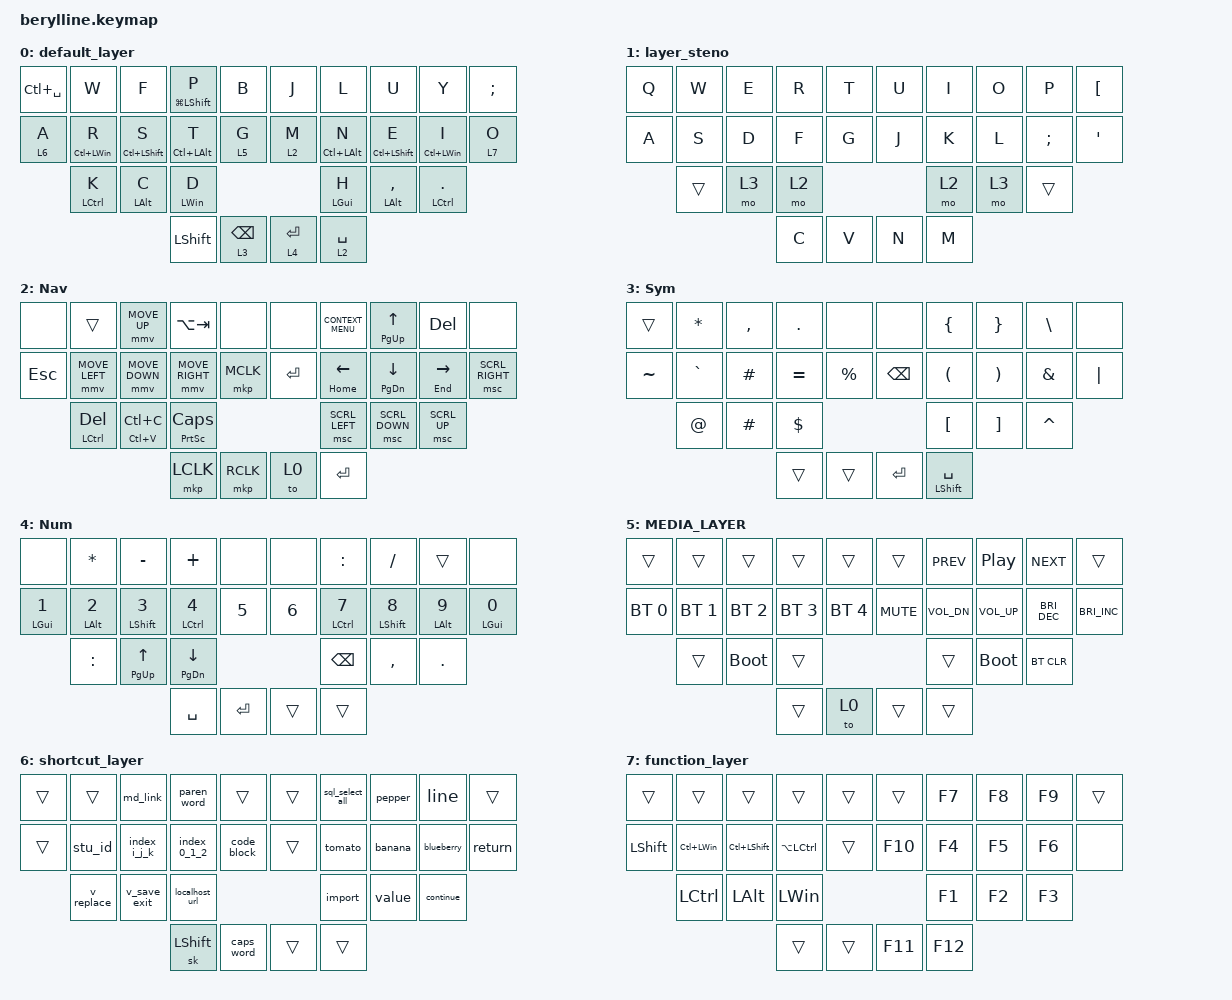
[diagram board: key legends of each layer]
/*
 * Copyright (c) 2020 The ZMK Contributors
 *
 * SPDX-License-Identifier: MIT
 */

#include <dt-bindings/zmk/mouse.h>
#include <behaviors.dtsi>
#include <dt-bindings/zmk/bt.h>
#include <dt-bindings/zmk/keys.h>
#include <dt-bindings/zmk/pointing.h>

// make moving faster

#define ZMK_POINTING_DEFAULT_MOVE_VAL 1500  // default: 600
#define ZMK_POINTING_DEFAULT_SCRL_VAL 20    // default: 10

/* Layers */

#define DEF_L 0
#define NAV_L 1
#define SYM_L 2
#define NUM_L 3
#define MED_L 4

/* Shortcuts */

#define CUT LC(X)
#define COPY LC(C)
#define PASTE LC(V)
#define UNDO LC(Z)
#define SLALL LC(A)

/* Key Position Groups */

#define KEYS_L 0 1 2 3 4 10 11 12 13 14 20 21 22  // left-hand keys
#define KEYS_R 5 6 7 8 9 15 16 17 18 19 23 24 25  // right-hand keys
#define THUMBS 26 27 28 29                        // thumb keys

/* Mod Tap Parameters */

#define TAPPING_TERM 200
#define TD_TAPPING_TERM 325
#define QUICK_TAP_TERM 175

/* Behavior Settings */

&sk {
    release-after-ms = <250>;
    quick-release;
};

&sl { release-after-ms = <250>; };

&mt {
    tapping-term-ms = <TAPPING_TERM>;
    flavor = "tap-preferred";
    quick-tap-ms = <QUICK_TAP_TERM>;
};

/ {
    behaviors {
        f1to3: f1to3 {
            compatible = "zmk,behavior-tap-dance";
            label = "F1TO3";
            #binding-cells = <0>;
            bindings = <&kp F1>, <&kp F2>, <&kp F3>;
        };

        f4to6: f4to6 {
            compatible = "zmk,behavior-tap-dance";
            label = "F4TO6";
            #binding-cells = <0>;
            bindings = <&kp F4>, <&kp F5>, <&kp F6>;
        };

        f7to9: f7to9 {
            compatible = "zmk,behavior-tap-dance";
            label = "F7TO9";
            #binding-cells = <0>;
            bindings = <&kp F7>, <&kp F8>, <&kp F9>;
        };

        shift_or_cap: shift_or_cap {
            compatible = "zmk,behavior-tap-dance";
            label = "SHIFT_OR_CAP";
            #binding-cells = <0>;
            bindings = <&kp LSHIFT>, <&caps_word>;
        };

        index_i_j_k: index_i_j_k {
            compatible = "zmk,behavior-tap-dance";
            label = "INDEX_I_J_K";
            #binding-cells = <0>;
            bindings = <&index_i>, <&index_j>, <&index_k>;
        };

        index_0_1_2: index_0_1_2 {
            compatible = "zmk,behavior-tap-dance";
            label = "INDEX_0_1_2";
            #binding-cells = <0>;
            bindings = <&index0>, <&index1>, <&index_2>;
        };

        swap_quote: swap_quote {
            compatible = "zmk,behavior-mod-morph";
            label = "SWAP_QUOTE";
            bindings = <&kp DOUBLE_QUOTES>, <&kp SINGLE_QUOTE>;

            #binding-cells = <0>;
            mods = <(MOD_LSFT)>;
        };

        ctrl_m_to_enter: ctrl_m_to_enter {
            compatible = "zmk,behavior-mod-morph";
            label = "CTRL_M_TO_ENTER";
            bindings = <&kp M>, <&kp ENTER>;

            #binding-cells = <0>;
            mods = <(MOD_LCTL)>;
        };
    };

    conditional_layers { compatible = "zmk,conditional-layers"; };

    combos {
        compatible = "zmk,combos";

        /*                KEY POSITIONS

             0   1   2   3   4      5   6   7   8   9
            10  11  12  13  14     15  16  17  18  19
                20  21  22             23  24  25
                        26  27     28  29              */
        /* Letters */

        v {
            key-positions = <2 3>;
            bindings = <&kp V>;
            layers = <0>;
        };

        q {
            key-positions = <12 11>;
            bindings = <&kp Q>;
            layers = <0>;
        };

        z {
            key-positions = <2 13>;
            bindings = <&kp Z>;
            layers = <0>;
        };

        /* Brackets */
        /* Convenience */

        esc {
            bindings = <&kp ESC>;
            key-positions = <11 13>;
            layers = <0 2>;
            timeout-ms = <25>;
        };

        tab {
            bindings = <&kp TAB>;
            key-positions = <1 2>;
            layers = <0>;
        };

        x {
            bindings = <&kp X>;
            key-positions = <12 22>;
            layers = <0>;
        };

        zero {
            bindings = <&kp N0>;
            key-positions = <20 21>;
            layers = <0 3>;
            timeout-ms = <30>;
        };

        one {
            bindings = <&kp N1>;
            key-positions = <22 21>;
            layers = <0 3>;
            timeout-ms = <20>;
        };

        slash {
            bindings = <&kp SLASH>;
            key-positions = <24 25>;
            layers = <0>;
        };

        minus {
            bindings = <&kp MINUS>;
            key-positions = <23 24>;
            layers = <0>;
        };

        quote {
            bindings = <&kp SINGLE_QUOTE>;
            key-positions = <17 18>;
            layers = <0>;
            timeout-ms = <25>;
        };

        to_nav {
            bindings = <&to 2>;
            key-positions = <24 25 23>;
            layers = <0>;
        };

        var_text {
            bindings = <&var_text>;
            key-positions = <8 18>;
            layers = <0>;
        };

        two {
            bindings = <&kp NUMBER_2>;
            key-positions = <20 22>;
            layers = <0 3>;
            timeout-ms = <30>;
        };

        equal {
            bindings = <&kp EQUAL>;
            key-positions = <16 17>;
            layers = <0>;
            timeout-ms = <25>;
        };

        tmux_prefix {
            bindings = <&kp LC(SPACE)>;
            key-positions = <3 13>;
            layers = <0>;
        };

        language_switch {
            bindings = <&language_switch>;
            key-positions = <7 8>;
            timeout-ms = <30>;
            layers = <0>;
        };

        home_dir {
            bindings = <&home_dir>;
            key-positions = <1 3>;
            layers = <0>;
        };

        astrk {
            bindings = <&kp ASTRK>;
            key-positions = <25 23>;
            layers = <0>;
        };

        less {
            bindings = <&less>;
            key-positions = <1 2>;
            layers = <3>;
        };

        gt {
            bindings = <&gt>;
            key-positions = <2 3>;
            layers = <3>;
        };

        equal_arrow {
            bindings = <&equal_arrow>;
            key-positions = <11 12>;
            layers = <3>;
        };

        last_dir {
            bindings = <&last_dir>;
            key-positions = <1 11>;
            layers = <0>;
        };

        line_start {
            bindings = <&kp CARET>;
            key-positions = <16 23>;
            layers = <0>;
        };

        line_end {
            bindings = <&kp DOLLAR>;
            key-positions = <17 24>;
            layers = <0>;
        };

        exclamation {
            bindings = <&kp EXCL>;
            key-positions = <18 25>;
            layers = <0>;
        };

        steno_toggle {
            bindings = <&plover_toggle>;
            key-positions = <21 20 22>;
            layers = <0 1>;
        };

        l_pren {
            bindings = <&kp LPAR>;
            key-positions = <16 6>;
            layers = <0>;
        };

        r_paren {
            bindings = <&kp RPAR>;
            key-positions = <7 17>;
            layers = <0>;
        };

        l_bracket {
            bindings = <&kp LEFT_BRACKET>;
            key-positions = <2 12>;
            layers = <0>;
        };

        arrow {
            bindings = <&arrow>;
            key-positions = <6 7>;
            layers = <0>;
        };
    };

    macros {
        const: const {
            compatible = "zmk,behavior-macro";
            #binding-cells = <0>;
            bindings = <&kp C &kp O &kp N &kp S &kp T &kp SPACE>;
            label = "CONST";
        };

        you: of {
            compatible = "zmk,behavior-macro";
            #binding-cells = <0>;
            bindings = <&kp Y &kp O &kp U>;
            label = "OF";
        };

        and: and {
            compatible = "zmk,behavior-macro";
            #binding-cells = <0>;
            bindings = <&kp A &kp N &kp D>;
            label = "AND";
        };

        key: key {
            compatible = "zmk,behavior-macro";
            #binding-cells = <0>;
            bindings = <&kp K &kp E &kp Y>;
            label = "KEY";
        };

        fun: fun {
            compatible = "zmk,behavior-macro";
            #binding-cells = <0>;
            bindings = <&kp F &kp U &kp N &kp C &kp T &kp I &kp O &kp N>;
            label = "FUN";
        };

        return: return {
            compatible = "zmk,behavior-macro";
            #binding-cells = <0>;
            bindings = <&kp R &kp E &kp T &kp U &kp R &kp N &kp SPACE>;
            label = "RETURN";
        };

        value: value {
            compatible = "zmk,behavior-macro";
            #binding-cells = <0>;
            bindings = <&kp V &kp A &kp L &kp U &kp E>;
            label = "VALUE";
        };

        home_dir: home_dir {
            compatible = "zmk,behavior-macro";
            #binding-cells = <0>;
            bindings = <&kp TILDE &kp FSLH>;
            label = "HOME_DIR";
        };

        s_neq: s_neq {
            compatible = "zmk,behavior-macro";
            #binding-cells = <0>;
            bindings = <&kp EXCL &kp EQUAL &kp EQUAL>;
            label = "S_NEQ";
        };

        less: less {
            compatible = "zmk,behavior-macro";
            #binding-cells = <0>;
            bindings = <&kp LT &kp EQUAL>;
            label = "LT";
        };

        gt: gt {
            compatible = "zmk,behavior-macro";
            #binding-cells = <0>;
            bindings = <&kp GT &kp EQUAL>;
            label = "GT";
        };

        equal_arrow: equal_arrow {
            compatible = "zmk,behavior-macro";
            #binding-cells = <0>;
            bindings = <&kp EQUAL &kp GT>;
            label = "EQUAL_ARROW";
        };

        s_eq: s_eq {
            compatible = "zmk,behavior-macro";
            #binding-cells = <0>;
            bindings = <&kp EQUAL &kp EQUAL &kp EQUAL>;
            label = "S_EQ";
        };

        export: export {
            compatible = "zmk,behavior-macro";
            #binding-cells = <0>;
            bindings = <&kp E &kp X &kp P &kp O &kp R &kp T &kp SPACE>;
            label = "EXPORT";
        };

        last_dir: last_dir {
            compatible = "zmk,behavior-macro";
            #binding-cells = <0>;
            bindings = <&kp DOT &kp DOT &kp FSLH>;
            label = "LAST_DIR";
        };

        str: str {
            compatible = "zmk,behavior-macro";
            #binding-cells = <0>;
            bindings = <&swap_quote &swap_quote &kp LEFT>;
            label = "STR";
        };

        true: true {
            compatible = "zmk,behavior-macro";
            #binding-cells = <0>;
            bindings = <&kp T &kp R &kp U &kp E>;
            label = "TRUE";
        };

        false: false {
            compatible = "zmk,behavior-macro";
            #binding-cells = <0>;
            bindings = <&kp F &kp A &kp L &kp S &kp E>;
            label = "FALSE";
        };

        default: default {
            compatible = "zmk,behavior-macro";
            #binding-cells = <0>;
            bindings = <&kp D &kp E &kp F &kp A &kp U &kp L &kp T &kp SPACE>;
            label = "DEFAULT";
        };

        import: import {
            compatible = "zmk,behavior-macro";
            #binding-cells = <0>;
            bindings = <&kp I &kp M &kp P &kp O &kp R &kp T &kp SPACE>;
            label = "IMPORT";
        };

        continue: continue {
            compatible = "zmk,behavior-macro";
            #binding-cells = <0>;
            bindings = <&kp C &kp O &kp N &kp T &kp I &kp N &kp U &kp E>;
            label = "CONTINUE";
        };

        stu_id: stu_id {
            compatible = "zmk,behavior-macro";
            #binding-cells = <0>;
            bindings = <&kp LS(P) &kp N7 &kp N6 &kp N1 &kp N4 &kp N4 &kp N4 &kp N3 &kp N5>;
            label = "STU_ID";
        };

        paren_word: paren_word {
            compatible = "zmk,behavior-macro";
            #binding-cells = <0>;
            bindings = <&kp LPAR &kp RPAR &kp LEFT>;
            label = "PAREN_WORD";
        };

        md_link: md_link {
            compatible = "zmk,behavior-macro";
            #binding-cells = <0>;
            bindings = <&kp LEFT_BRACKET &kp RIGHT_BRACKET &kp LPAR &kp RPAR &kp LEFT &kp LEFT &kp LEFT>;
            label = "MD_LINK";
        };

        index_i: index_i {
            compatible = "zmk,behavior-macro";
            #binding-cells = <0>;
            bindings = <&kp LBKT &kp I &kp RIGHT_BRACKET>;
            label = "INDEX_I";
        };

        index_j: index_j {
            compatible = "zmk,behavior-macro";
            #binding-cells = <0>;
            bindings = <&kp LBKT &kp J &kp RIGHT_BRACKET>;
            label = "INDEX_J";
        };

        index0: index0 {
            compatible = "zmk,behavior-macro";
            #binding-cells = <0>;
            bindings = <&kp LBKT &kp N0 &kp RIGHT_BRACKET>;
            label = "INDEX0";
        };

        index1: index1 {
            compatible = "zmk,behavior-macro";
            #binding-cells = <0>;
            bindings = <&kp LBKT &kp N1 &kp RIGHT_BRACKET>;
            label = "INDEX1";
        };

        length: length {
            compatible = "zmk,behavior-macro";
            #binding-cells = <0>;
            bindings = <&kp L &kp E &kp N &kp G &kp T &kp H>;
            label = "LENGTH";
        };

        index_2: index_2 {
            compatible = "zmk,behavior-macro";
            #binding-cells = <0>;
            bindings = <&kp LBKT &kp N2 &kp RIGHT_BRACKET>;
            label = "INDEX_2";
        };

        index_k: index_k {
            compatible = "zmk,behavior-macro";
            #binding-cells = <0>;
            bindings = <&kp LBKT &kp K &kp RBKT>;
            label = "INDEX_K";
        };

        sym_or: sym_or {
            compatible = "zmk,behavior-macro";
            #binding-cells = <0>;
            bindings = <&kp PIPE &kp PIPE>;
            label = "SYM_OR";
        };

        localhost_url: localhost_url {
            compatible = "zmk,behavior-macro";
            #binding-cells = <0>;
            bindings = <&kp H &kp T &kp T &kp P &kp COLON &kp FSLH &kp FSLH &kp L &kp O &kp C &kp A &kp L &kp H &kp O &kp S &kp T &kp COLON>;
            label = "LOCALHOST_URL";
        };

        v_replace: v_replace {
            compatible = "zmk,behavior-macro";
            #binding-cells = <0>;
            bindings = <&kp ESCAPE &kp COLON &kp PRCNT &kp S &kp FSLH>;
            label = "V_REPLACE";
        };

        var_text: var_text {
            compatible = "zmk,behavior-macro";
            #binding-cells = <0>;
            bindings = <&kp DLLR &kp LBRC &kp RBRC &kp LEFT>;
            label = "VAR_TEXT";
        };

        v_save_exit: v_save_exit {
            compatible = "zmk,behavior-macro";
            #binding-cells = <0>;
            bindings = <&kp ESCAPE &kp COLON &kp W &kp Q &kp RET>;
            label = "V_SAVE_EXIT";
        };

        bracket_word: bracket_word {
            compatible = "zmk,behavior-macro";
            #binding-cells = <0>;
            bindings = <&kp LBKT &kp RIGHT_BRACKET &kp LEFT>;
            label = "BRACKET_WORD";
        };

        code_block: code_block {
            compatible = "zmk,behavior-macro";
            #binding-cells = <0>;
            bindings = <&kp GRAVE &kp GRAVE &kp GRAVE &kp ENTER &kp GRAVE &kp GRAVE &kp GRAVE &kp UP &kp ENTER>;
            label = "CODE_BLOCK";
        };

        sql_select_all: sql_select_all {
            compatible = "zmk,behavior-macro";
            #binding-cells = <0>;
            bindings = <&kp LS(S) &kp LS(E) &kp LS(L) &kp LS(E) &kp LS(C) &kp LS(T) &kp SPACE &kp STAR &kp SPACE &kp LS(F) &kp LS(R) &kp LS(O) &kp LS(M) &kp SPACE>;
            label = "SQL_SELECT_ALL";
        };

        language_switch: language_switch {
            compatible = "zmk,behavior-macro";
            #binding-cells = <0>;
            bindings = <&kp LG(SPACE)>;
            label = "LANGUAGE_SWITCH";
        };

        plover_toggle: plover_toggle {
            wait-ms = <5>;
            tap-ms = <5>;
            compatible = "zmk,behavior-macro";
            label = "PLOVER";
            #binding-cells = <0>;
            bindings =
                <&macro_press>,
                <&kp E &kp R &kp F &kp V &kp O &kp L>,
                <&macro_release>,
                <&kp E &kp R &kp F &kp V &kp O &kp L>,
                <&macro_tap>,
                <&tog 1>;
        };

        tomato: tomato {
            compatible = "zmk,behavior-macro";
            #binding-cells = <0>;
            bindings = <&kp LC(LS(U)) &kp N1 &kp F &kp N3 &kp N4 &kp N5 &kp ENTER>;
            label = "TOMATO";
        };

        banana: banana {
            compatible = "zmk,behavior-macro";
            #binding-cells = <0>;
            bindings = <&kp LC(LS(U)) &kp N1 &kp F &kp N3 &kp N4 &kp C &kp ENTER>;
            label = "BANANA";
        };

        pepper: pepper {
            compatible = "zmk,behavior-macro";
            #binding-cells = <0>;
            bindings = <&kp LC(LS(U)) &kp N1 &kp F &kp A &kp D &kp NUMBER_1 &kp ENTER>;
            label = "PEPPER";
        };

        blueberry: blueberry {
            compatible = "zmk,behavior-macro";
            #binding-cells = <0>;
            bindings = <&kp LC(LS(U)) &kp N1 &kp F &kp A &kp D &kp NUMBER_0 &kp ENTER>;
            label = "BLUEBERRY";
        };

        arrow: arrow {
            compatible = "zmk,behavior-macro";
            #binding-cells = <0>;
            bindings = <&kp MINUS &kp GT>;
            label = "ARROW";
        };

        line: line {
            compatible = "zmk,behavior-macro";
            #binding-cells = <0>;
            bindings = <&kp MINUS &kp MINUS &kp MINUS &kp RET>;
            label = "LINE";
        };
    };

    keymap {
        compatible = "zmk,keymap";

        default_layer {
            bindings = <
&kp LC(SPACE)  &kp W           &kp F             &mt LG(LSHIFT) P    &kp B              &kp J        &kp L               &kp U               &kp Y           &kp SEMI
&lt 6 A        &mt LC(LWIN) R  &mt LC(LSHIFT) S  &mt LC(LEFT_ALT) T  &lt 5 G            &lt 2 M      &mt LC(LEFT_ALT) N  &mt LC(LSHIFT) E    &mt LC(LWIN) I  &lt 7 O
               &mt LCTRL K     &mt LEFT_ALT C    &mt LEFT_WIN D                                      &mt LEFT_GUI H      &mt LEFT_ALT COMMA  &mt LCTRL DOT
                                                 &kp LSHIFT          &lt 3 BACKSPACE    &lt 4 ENTER  &lt 2 SPACE
            >;
        };

        layer_steno {
            bindings = <
&kp Q  &kp W   &kp E  &kp R  &kp T    &kp U  &kp I  &kp O  &kp P     &kp LBKT
&kp A  &kp S   &kp D  &kp F  &kp G    &kp J  &kp K  &kp L  &kp SEMI  &kp APOS
       &trans  &mo 3  &mo 2                  &mo 2  &mo 3  &trans
                      &kp C  &kp V    &kp N  &kp M
            >;
        };

        nav_layer {
            label = "Nav";
            bindings = <
&none       &trans                   &mmv MOVE_UP     &kp LA(TAB)               &none        &none      &kp K_CONTEXT_MENU  &mt PAGE_UP UP      &kp DELETE     &none
&kp ESCAPE  &mmv MOVE_LEFT           &mmv MOVE_DOWN   &mmv MOVE_RIGHT           &mkp MCLK    &kp ENTER  &mt HOME LEFT       &mt PAGE_DOWN DOWN  &mt END RIGHT  &msc SCRL_RIGHT
            &mt LEFT_CONTROL DELETE  &mt LC(V) LC(C)  &mt PRINTSCREEN CAPSLOCK                          &msc SCRL_LEFT      &msc SCRL_DOWN      &msc SCRL_UP
                                                      &mkp LCLK                 &mkp RCLK    &to 0      &kp ENTER
            >;
        };

        sym_layer {
            label = "Sym";
            bindings = <
&trans     &kp ASTRK  &kp COMMA  &kp DOT     &none          &none          &kp LEFT_BRACE        &kp RIGHT_BRACE        &kp BACKSLASH  &none
&kp TILDE  &kp GRAVE  &kp HASH   &kp EQUAL   &kp PERCENT    &kp BACKSPACE  &kp LEFT_PARENTHESIS  &kp RIGHT_PARENTHESIS  &kp AMPERSAND  &kp PIPE
           &kp AT     &kp HASH   &kp DOLLAR                                &kp LEFT_BRACKET      &kp RIGHT_BRACKET      &kp CARET
                                 &trans      &trans         &kp ENTER      &mt LEFT_SHIFT SPACE
            >;
        };

        num_layer {
            label = "Num";
            bindings = <
&none        &kp ASTRK    &kp MINUS       &kp PLUS            &none        &none   &kp COLON      &kp SLASH     &trans       &none
&mt LGUI N1  &mt LALT N2  &mt LSHFT N3    &mt LCTRL N4        &kp N5       &kp N6  &mt LCTRL N7   &mt LSHFT N8  &mt LALT N9  &mt LGUI N0
             &kp COLON    &mt PAGE_UP UP  &mt PAGE_DOWN DOWN                       &kp BACKSPACE  &kp COMMA     &kp DOT
                                          &kp SPACE           &kp ENTER    &trans  &trans
            >;
        };

        MEDIA_LAYER {
            bindings = <
&trans        &trans        &trans        &trans        &trans          &trans      &kp C_PREV    &kp C_PP      &kp C_NEXT     &trans
&bt BT_SEL 0  &bt BT_SEL 1  &bt BT_SEL 2  &bt BT_SEL 3  &bt BT_SEL 4    &kp C_MUTE  &kp C_VOL_DN  &kp C_VOL_UP  &kp C_BRI_DEC  &kp C_BRI_INC
              &trans        &bootloader   &trans                                    &trans        &bootloader   &bt BT_CLR
                                          &trans        &to 0           &trans      &trans
            >;
        };

        shortcut_layer {
            bindings = <
&trans  &trans      &md_link      &paren_word     &trans         &trans  &sql_select_all  &pepper  &line       &trans
&trans  &stu_id     &index_i_j_k  &index_0_1_2    &code_block    &trans  &tomato          &banana  &blueberry  &return
        &v_replace  &v_save_exit  &localhost_url                         &import          &value   &continue
                                  &sk LSHIFT      &caps_word     &trans  &trans
            >;
        };

        function_layer {
            bindings = <
&trans          &trans        &trans              &trans         &trans    &trans   &kp F7   &kp F8  &kp F9  &trans
&kp LEFT_SHIFT  &kp LC(LWIN)  &kp LC(LEFT_SHIFT)  &kp LA(LCTRL)  &trans    &kp F10  &kp F4   &kp F5  &kp F6  &none
                &kp LCTRL     &kp LEFT_ALT        &kp LWIN                          &kp F1   &kp F2  &kp F3
                                                  &trans         &trans    &kp F11  &kp F12
            >;
        };
    };
};
